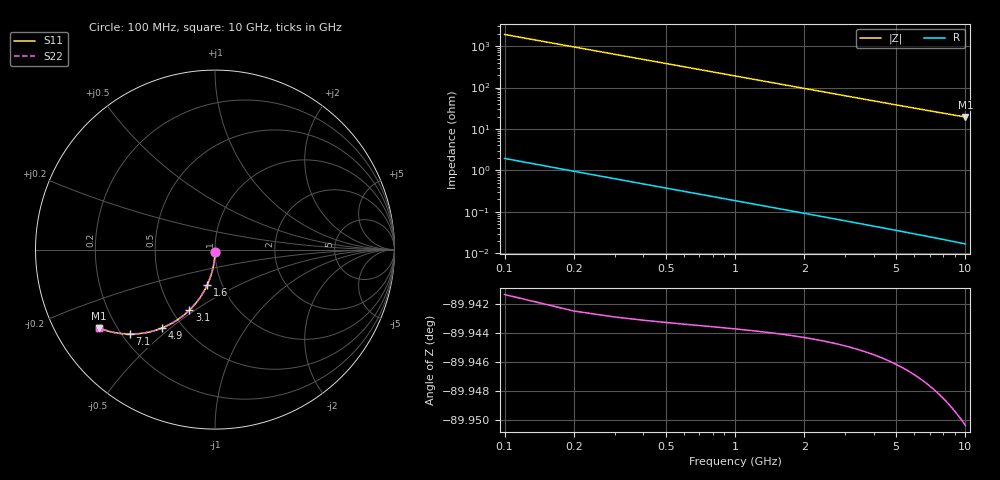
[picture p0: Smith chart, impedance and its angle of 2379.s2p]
# Hz S RI R 50.00
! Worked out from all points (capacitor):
!   100 points, 100 MHz to 10 GHz, reference 50 ohm
!   read as one part in shunt: C = 836 fF near 100 MHz
!   lowest |Z| = 19.5 ohm at 10 GHz (marker M1)
!   S11 on the Smith chart (normalised r, x): 100 MHz: 1.00, -0.03; 1.6 GHz: 0.85, -0.35; 3.1 GHz: 0.61, -0.48; 4.9 GHz: 0.38, -0.47; 7.1 GHz: 0.23, -0.39; 10 GHz: 0.14, -0.30
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1e8  -0.000103 -0.0127  0.9997 -0.0135  0.9997 -0.0135  -0.000103 -0.0127
2e8  -0.000632 -0.0255  0.9992 -0.027  0.9992 -0.027  -0.000632 -0.0255
3e8  -0.0015 -0.0382  0.9983 -0.0405  0.9983 -0.0405  -0.0015 -0.0382
4e8  -0.00272 -0.0508  0.9971 -0.0539  0.9971 -0.0539  -0.00272 -0.0508
5e8  -0.00427 -0.0635  0.9956 -0.0673  0.9956 -0.0673  -0.00427 -0.0635
6e8  -0.00616 -0.076  0.9937 -0.0806  0.9937 -0.0806  -0.00616 -0.076
7e8  -0.00838 -0.0885  0.9914 -0.0939  0.9914 -0.0939  -0.00838 -0.0885
9e8  -0.0138 -0.1131  0.986 -0.1201  0.986 -0.1201  -0.0138 -0.1131
1.2e9  -0.0243 -0.1492  0.9755 -0.1585  0.9755 -0.1585  -0.0243 -0.1492
1.6e9  -0.0425 -0.1953  0.9573 -0.2076  0.9573 -0.2076  -0.0425 -0.1953
1.8e9  -0.0532 -0.2172  0.9465 -0.2312  0.9465 -0.2312  -0.0532 -0.2172
2.4e9  -0.091 -0.2781  0.9087 -0.2966  0.9087 -0.2966  -0.091 -0.2781
3.1e9  -0.1435 -0.3383  0.8561 -0.3623  0.8561 -0.3623  -0.1435 -0.3383
3.4e9  -0.1679 -0.3603  0.8316 -0.3867  0.8316 -0.3867  -0.1679 -0.3603
4.1e9  -0.2274 -0.4029  0.7719 -0.4349  0.7719 -0.4349  -0.2274 -0.4029
4.9e9  -0.2969 -0.4374  0.7022 -0.4758  0.7022 -0.4758  -0.2969 -0.4374
5.1e9  -0.3141 -0.4439  0.6849 -0.4838  0.6849 -0.4838  -0.3141 -0.4439
5.9e9  -0.3811 -0.4621  0.6176 -0.5085  0.6176 -0.5085  -0.3811 -0.4621
6.7e9  -0.4438 -0.4699  0.5546 -0.5229  0.5546 -0.5229  -0.4438 -0.4699
7.1e9  -0.4732 -0.4707  0.525 -0.527  0.525 -0.527  -0.4732 -0.4707
8.4e9  -0.5591 -0.4623  0.4385 -0.5294  0.4385 -0.5294  -0.5591 -0.4623
1e10  -0.6449 -0.4371  0.3516 -0.5179  0.3516 -0.5179  -0.6449 -0.4371
